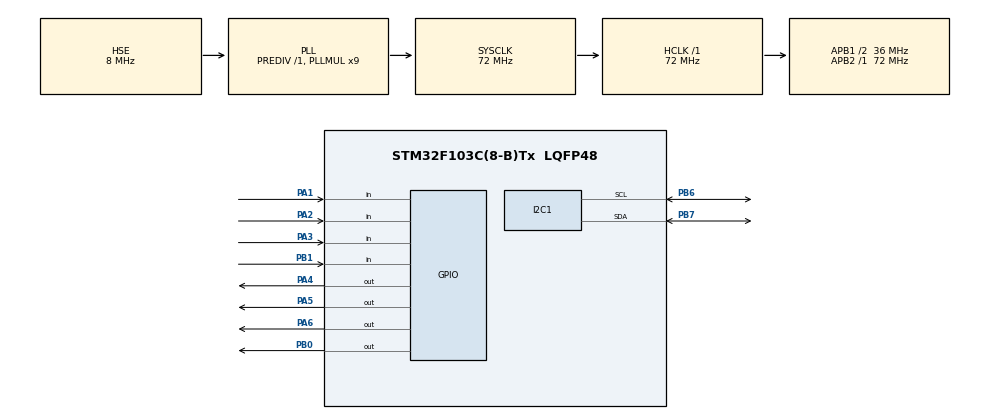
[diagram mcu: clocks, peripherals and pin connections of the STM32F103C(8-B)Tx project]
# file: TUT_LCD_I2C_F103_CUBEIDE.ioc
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Mcu.Family=STM32F1
Mcu.Name=STM32F103C(8-B)Tx
Mcu.Package=LQFP48
NVIC.PriorityGroup=NVIC_PRIORITYGROUP_4
PA1.GPIO_PuPd=GPIO_PULLUP
PA1.Signal=GPIO_Input
PA13.Mode=Serial_Wire
PA13.Signal=SYS_JTMS-SWDIO
PA14.Mode=Serial_Wire
PA14.Signal=SYS_JTCK-SWCLK
PA2.GPIO_PuPd=GPIO_PULLUP
PA2.Signal=GPIO_Input
PA3.GPIO_PuPd=GPIO_PULLUP
PA3.Signal=GPIO_Input
PA4.Signal=GPIO_Output
PA5.Signal=GPIO_Output
PA6.Signal=GPIO_Output
PB0.Signal=GPIO_Output
PB1.GPIO_PuPd=GPIO_PULLUP
PB1.Signal=GPIO_Input
PB6.GPIO_Pu=GPIO_PULLUP
PB6.Mode=I2C
PB6.Signal=I2C1_SCL
PB7.GPIO_Pu=GPIO_PULLUP
PB7.Mode=I2C
PB7.Signal=I2C1_SDA
PD0-OSC_IN.Mode=HSE-External-Oscillator
PD0-OSC_IN.Signal=RCC_OSC_IN
PD1-OSC_OUT.Mode=HSE-External-Oscillator
PD1-OSC_OUT.Signal=RCC_OSC_OUT
ProjectManager.HeapSize=0x200
ProjectManager.StackSize=0x400
ProjectManager.TargetToolchain=MDK-ARM V5.32
RCC.AHBFreq_Value=72000000
RCC.APB1CLKDivider=RCC_HCLK_DIV2
RCC.APB1Freq_Value=36000000
RCC.APB1TimFreq_Value=72000000
RCC.APB2Freq_Value=72000000
RCC.APB2TimFreq_Value=72000000
RCC.HCLKFreq_Value=72000000
RCC.PLLMUL=RCC_PLL_MUL9
RCC.PLLSourceVirtual=RCC_PLLSOURCE_HSE
RCC.SYSCLKFreq_VALUE=72000000
RCC.SYSCLKSource=RCC_SYSCLKSOURCE_PLLCLK
RCC.USBFreq_Value=72000000
board=custom

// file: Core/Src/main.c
/* USER CODE BEGIN Header */
/**
  ******************************************************************************
  * @file           : main.c
  * @brief          : Main program body
  ******************************************************************************
  * @attention
  *
  * <h2><center>&copy; Copyright (c) 2019 STMicroelectronics.
  * All rights reserved.</center></h2>
  *
  * This software component is licensed by ST under BSD 3-Clause license,
  * the "License"; You may not use this file except in compliance with the
  * License. You may obtain a copy of the License at:
  *                        opensource.org/licenses/BSD-3-Clause
  *
  ******************************************************************************
  */
/* USER CODE END Header */
#include "main.h"

/* USER CODE BEGIN Includes */

#include "i2c-lcd.h"

#define R1_PORT GPIOB
#define R1_PIN GPIO_PIN_0

#define R2_PORT GPIOA
#define R2_PIN GPIO_PIN_6

#define R3_PORT GPIOA
#define R3_PIN GPIO_PIN_5

#define R4_PORT GPIOA
#define R4_PIN GPIO_PIN_4

#define C1_PORT GPIOA
#define C1_PIN GPIO_PIN_3

#define C2_PORT GPIOA
#define C2_PIN GPIO_PIN_2

#define C3_PORT GPIOA
#define C3_PIN GPIO_PIN_1

#define C4_PORT GPIOB
#define C4_PIN GPIO_PIN_1

uint8_t key;

char keypressed;
char password[4] = {'2','0','2','2'};
char password_2[20];

char read_keypad (void);

char code_buff1[sizeof(password)];
char code_buff2[sizeof(password)];

int index_ = 0;

short a = 0, i = 0, s = 0, j = 0;
void GetNewCode1();
void ChangeCode();
void GetNewCode2();
void GetCode();
void ChangeCode()
{
  lcd_clear();
  lcd_put_cur(0,0);
	lcd_send_string("Doi pass");
  HAL_Delay(500);
	lcd_clear();
	lcd_put_cur(0,0);
	lcd_send_string("Pass cu");
  GetCode();

  if (a == sizeof(password))
  {
    index_ = 0;
    lcd_clear();
    lcd_clear();
		lcd_put_cur(0,0);
		lcd_send_string("thay doi");
    GetNewCode1();
    GetNewCode2();
    s = 0;
    for (i = 0; i < sizeof(password); i++)
    {
      if (code_buff1[i] == code_buff2[i] && (code_buff1[i] != '\0') && (code_buff2[i] != '\0'))
        s++;
    }
    if (s == sizeof(password))
    {

      for (i = 0; i < sizeof(password); i++)
      {
        password[i] = code_buff2[i];
      }
      lcd_clear();
      lcd_put_cur(0,0);
			lcd_send_string("succesfull");
      HAL_Delay(500);
    }
    else
    {
      lcd_clear();
      lcd_put_cur(0,0);
			lcd_send_string("that bai");
      HAL_Delay(1000);
    }
  }

  else
  {
    lcd_clear();
		lcd_put_cur(0,0);
		lcd_send_string("sai pass");
    HAL_Delay(2000);
  }
}

void GetNewCode1()
{
  i = 0;
  j = 0;
  lcd_clear();
	lcd_put_cur(0,0);
  lcd_send_string("new pass");
  //lcd_clear();
//	lcd_put_cur(1,0);
//  lcd_send_string("xac nhan");
//  HAL_Delay(1000);
//  lcd_clear();
//	lcd_put_cur(0,0);
//  lcd_send_string("xac nhan: A");

  while (keypressed != 'A')
  {
    keypressed = read_keypad();
    if (keypressed != 0x01 && keypressed != 'A')
    {
      lcd_put_cur(1,j);
      lcd_send_string("*");
      code_buff1[i] = keypressed;
      i++;
      j++;
    }
  }
  keypressed = 0x01;
}

void GetNewCode2()
{
  i = 0;
  j = 0;

  lcd_clear();
	lcd_put_cur(0,0);
  lcd_send_string("xac nhan lai");
  lcd_clear();
//	lcd_put_cur(1,0);
//  lcd_send_string("xac nhan");
//  HAL_Delay(1000);
//  lcd_clear();
	lcd_put_cur(0,0);
  lcd_send_string("xac nhan");

  while (keypressed != 'A')
  {
    keypressed = read_keypad();
    if (keypressed != 0x01 && keypressed != 'A')
    {
      lcd_put_cur(1,j);
      lcd_send_string("*");
      code_buff2[i] = keypressed;
      i++;
      j++;
    }
  }
  keypressed = 0x01;
}

char read_keypad (void)
{
	/* Make ROW 1 LOW and all other ROWs HIGH */
	HAL_GPIO_WritePin (R1_PORT, R1_PIN, GPIO_PIN_RESET);  //Pull the R1 low
	HAL_GPIO_WritePin (R2_PORT, R2_PIN, GPIO_PIN_SET);  // Pull the R2 High
	HAL_GPIO_WritePin (R3_PORT, R3_PIN, GPIO_PIN_SET);  // Pull the R3 High
	HAL_GPIO_WritePin (R4_PORT, R4_PIN, GPIO_PIN_SET);  // Pull the R4 High

	if (!(HAL_GPIO_ReadPin (C1_PORT, C1_PIN)))   // if the Col 1 is low
	{
		while (!(HAL_GPIO_ReadPin (C1_PORT, C1_PIN)));   // wait till the button is pressed
		return '1';
	}

	if (!(HAL_GPIO_ReadPin (C2_PORT, C2_PIN)))   // if the Col 2 is low
	{
		while (!(HAL_GPIO_ReadPin (C2_PORT, C2_PIN)));   // wait till the button is pressed
		return '2';
	}

	if (!(HAL_GPIO_ReadPin (C3_PORT, C3_PIN)))   // if the Col 3 is low
	{
		while (!(HAL_GPIO_ReadPin (C3_PORT, C3_PIN)));   // wait till the button is pressed
		return '3';
	}

	if (!(HAL_GPIO_ReadPin (C4_PORT, C4_PIN)))   // if the Col 4 is low
	{
		while (!(HAL_GPIO_ReadPin (C4_PORT, C4_PIN)));   // wait till the button is pressed
		return 'A';
	}

	/* Make ROW 2 LOW and all other ROWs HIGH */
	HAL_GPIO_WritePin (R1_PORT, R1_PIN, GPIO_PIN_SET);  //Pull the R1 low
	HAL_GPIO_WritePin (R2_PORT, R2_PIN, GPIO_PIN_RESET);  // Pull the R2 High
	HAL_GPIO_WritePin (R3_PORT, R3_PIN, GPIO_PIN_SET);  // Pull the R3 High
	HAL_GPIO_WritePin (R4_PORT, R4_PIN, GPIO_PIN_SET);  // Pull the R4 High

	if (!(HAL_GPIO_ReadPin (C1_PORT, C1_PIN)))   // if the Col 1 is low
	{
		while (!(HAL_GPIO_ReadPin (C1_PORT, C1_PIN)));   // wait till the button is pressed
		return '4';
	}

	if (!(HAL_GPIO_ReadPin (C2_PORT, C2_PIN)))   // if the Col 2 is low
	{
		while (!(HAL_GPIO_ReadPin (C2_PORT, C2_PIN)));   // wait till the button is pressed
		return '5';
	}

	if (!(HAL_GPIO_ReadPin (C3_PORT, C3_PIN)))   // if the Col 3 is low
	{
		while (!(HAL_GPIO_ReadPin (C3_PORT, C3_PIN)));   // wait till the button is pressed
		return '6';
	}

	if (!(HAL_GPIO_ReadPin (C4_PORT, C4_PIN)))   // if the Col 4 is low
	{
		while (!(HAL_GPIO_ReadPin (C4_PORT, C4_PIN)));   // wait till the button is pressed
		return 'B';
	}

	/* Make ROW 3 LOW and all other ROWs HIGH */
	HAL_GPIO_WritePin (R1_PORT, R1_PIN, GPIO_PIN_SET);  //Pull the R1 low
	HAL_GPIO_WritePin (R2_PORT, R2_PIN, GPIO_PIN_SET);  // Pull the R2 High
	HAL_GPIO_WritePin (R3_PORT, R3_PIN, GPIO_PIN_RESET);  // Pull the R3 High
	HAL_GPIO_WritePin (R4_PORT, R4_PIN, GPIO_PIN_SET);  // Pull the R4 High

	if (!(HAL_GPIO_ReadPin (C1_PORT, C1_PIN)))   // if the Col 1 is low
	{
		while (!(HAL_GPIO_ReadPin (C1_PORT, C1_PIN)));   // wait till the button is pressed
		return '7';
	}

	if (!(HAL_GPIO_ReadPin (C2_PORT, C2_PIN)))   // if the Col 2 is low
	{
		while (!(HAL_GPIO_ReadPin (C2_PORT, C2_PIN)));   // wait till the button is pressed
		return '8';
	}

	if (!(HAL_GPIO_ReadPin (C3_PORT, C3_PIN)))   // if the Col 3 is low
	{
		while (!(HAL_GPIO_ReadPin (C3_PORT, C3_PIN)));   // wait till the button is pressed
		return '9';
	}

	if (!(HAL_GPIO_ReadPin (C4_PORT, C4_PIN)))   // if the Col 4 is low
	{
		while (!(HAL_GPIO_ReadPin (C4_PORT, C4_PIN)));   // wait till the button is pressed
		return 'C';
	}

	/* Make ROW 4 LOW and all other ROWs HIGH */
	HAL_GPIO_WritePin (R1_PORT, R1_PIN, GPIO_PIN_SET);  //Pull the R1 low
	HAL_GPIO_WritePin (R2_PORT, R2_PIN, GPIO_PIN_SET);  // Pull the R2 High
	HAL_GPIO_WritePin (R3_PORT, R3_PIN, GPIO_PIN_SET);  // Pull the R3 High
	HAL_GPIO_WritePin (R4_PORT, R4_PIN, GPIO_PIN_RESET);  // Pull the R4 High

	if (!(HAL_GPIO_ReadPin (C1_PORT, C1_PIN)))   // if the Col 1 is low
	{
		while (!(HAL_GPIO_ReadPin (C1_PORT, C1_PIN)));   // wait till the button is pressed
		return '*';
	}

	if (!(HAL_GPIO_ReadPin (C2_PORT, C2_PIN)))   // if the Col 2 is low
	{
		while (!(HAL_GPIO_ReadPin (C2_PORT, C2_PIN)));   // wait till the button is pressed
		return '0';
	}

	if (!(HAL_GPIO_ReadPin (C3_PORT, C3_PIN)))   // if the Col 3 is low
	{
		while (!(HAL_GPIO_ReadPin (C3_PORT, C3_PIN)));   // wait till the button is pressed
		return '#';
	}

	if (!(HAL_GPIO_ReadPin (C4_PORT, C4_PIN)))   // if the Col 4 is low
	{
		while (!(HAL_GPIO_ReadPin (C4_PORT, C4_PIN)));   // wait till the button is pressed
		return 'D';
	}

}

void enter_password(){
	int h = 0;
			char val = read_keypad();
				while(val!='D'){
					val = read_keypad();
					if(val !=0x01&&val!='D'){
							lcd_put_cur(1,h);
						lcd_send_string("*");
				password_2[h] = val;
							++h;
					}
		}

}

void GetCode()
{
  i = 0;
  a = 0;
  j = 0;

  while (keypressed != 'A')
  {
    keypressed = read_keypad();
    if (keypressed != 0x01 && keypressed != 'A')
    {
      lcd_put_cur(1,j);
      lcd_send_string("*");
      j++;
      if (keypressed == password[i] && i < sizeof(password))
      {
        a++;
        i++;
      }
      else
        a--;
    }
  }
  keypressed = 0x01;
}

/* USER CODE END Includes */

I2C_HandleTypeDef hi2c1;

void SystemClock_Config(void);
static void MX_GPIO_Init(void);
static void MX_I2C1_Init(void);

/* USER CODE BEGIN 0 */

int row=0;
int col=0;

/* USER CODE END 0 */

int main(void)
{

  /* MCU Configuration--------------------------------------------------------*/

  /* Reset of all peripherals, Initializes the Flash interface and the Systick. */
  HAL_Init();

  /* Configure the system clock */
  SystemClock_Config();

  /* Initialize all configured peripherals */
  MX_GPIO_Init();
  MX_I2C1_Init();
  /* USER CODE BEGIN 2 */

  lcd_init ();
	enum bool_{FALSE,TRUE};

  //HAL_Delay(1000);

  lcd_put_cur(0,0);

	lcd_send_string (" HOC VIEN KTMM: ");

  /* USER CODE END 2 */

  /* Infinite loop */
  /* USER CODE BEGIN WHILE */
	lcd_put_cur(1,1);
	int index_ = 0;
  while (1)
  {
		char keypressed = read_keypad();
		if(keypressed == '*'){
			lcd_clear();
			lcd_put_cur(0,0);
			lcd_send_string("Enter password:");
			GetCode();
			if(a==sizeof(password)){lcd_clear();lcd_put_cur(0,0);lcd_send_string("    Open door");}else{lcd_clear();lcd_put_cur(0,0);lcd_send_string("Nhap lai");}
		}

		if(keypressed == '#'){
			ChangeCode();
		}
//
//		switch(selection)
//		{
//			case '*': lcd_clear();lcd_put_cur(0,0);lcd_send_string("Enter Password:");enter_password();if(check_pass()==1){lcd_clear();lcd_put_cur(0,0);lcd_send_string("open");};
//				break;
//			case '#': lcd_clear();lcd_put_cur(0,0);lcd_send_string("Change Password:");break;
//
//		}

		//lcd_clear();
    /* USER CODE END WHILE */

  }
}

void SystemClock_Config(void)
{
  RCC_OscInitTypeDef RCC_OscInitStruct = {0};
  RCC_ClkInitTypeDef RCC_ClkInitStruct = {0};

  /** Initializes the RCC Oscillators according to the specified parameters
  * in the RCC_OscInitTypeDef structure.
  */
  RCC_OscInitStruct.OscillatorType = RCC_OSCILLATORTYPE_HSE;
  RCC_OscInitStruct.HSEState = RCC_HSE_ON;
  RCC_OscInitStruct.HSEPredivValue = RCC_HSE_PREDIV_DIV1;
  RCC_OscInitStruct.HSIState = RCC_HSI_ON;
  RCC_OscInitStruct.PLL.PLLState = RCC_PLL_ON;
  RCC_OscInitStruct.PLL.PLLSource = RCC_PLLSOURCE_HSE;
  RCC_OscInitStruct.PLL.PLLMUL = RCC_PLL_MUL9;
  if (HAL_RCC_OscConfig(&RCC_OscInitStruct) != HAL_OK)
  {
    Error_Handler();
  }
  /** Initializes the CPU, AHB and APB buses clocks
  */
  RCC_ClkInitStruct.ClockType = RCC_CLOCKTYPE_HCLK|RCC_CLOCKTYPE_SYSCLK
                              |RCC_CLOCKTYPE_PCLK1|RCC_CLOCKTYPE_PCLK2;
  RCC_ClkInitStruct.SYSCLKSource = RCC_SYSCLKSOURCE_PLLCLK;
  RCC_ClkInitStruct.AHBCLKDivider = RCC_SYSCLK_DIV1;
  RCC_ClkInitStruct.APB1CLKDivider = RCC_HCLK_DIV2;
  RCC_ClkInitStruct.APB2CLKDivider = RCC_HCLK_DIV1;

  if (HAL_RCC_ClockConfig(&RCC_ClkInitStruct, FLASH_LATENCY_2) != HAL_OK)
  {
    Error_Handler();
  }
}

static void MX_I2C1_Init(void)
{

  hi2c1.Instance = I2C1;
  hi2c1.Init.ClockSpeed = 100000;
  hi2c1.Init.DutyCycle = I2C_DUTYCYCLE_2;
  hi2c1.Init.OwnAddress1 = 0;
  hi2c1.Init.AddressingMode = I2C_ADDRESSINGMODE_7BIT;
  hi2c1.Init.DualAddressMode = I2C_DUALADDRESS_DISABLE;
  hi2c1.Init.OwnAddress2 = 0;
  hi2c1.Init.GeneralCallMode = I2C_GENERALCALL_DISABLE;
  hi2c1.Init.NoStretchMode = I2C_NOSTRETCH_DISABLE;
  if (HAL_I2C_Init(&hi2c1) != HAL_OK)
  {
    Error_Handler();
  }

}

static void MX_GPIO_Init(void)
{
  GPIO_InitTypeDef GPIO_InitStruct = {0};

  /* GPIO Ports Clock Enable */
  __HAL_RCC_GPIOD_CLK_ENABLE();
  __HAL_RCC_GPIOA_CLK_ENABLE();
  __HAL_RCC_GPIOB_CLK_ENABLE();

  /*Configure GPIO pin Output Level */
  HAL_GPIO_WritePin(GPIOA, GPIO_PIN_4|GPIO_PIN_5|GPIO_PIN_6, GPIO_PIN_RESET);

  /*Configure GPIO pin Output Level */
  HAL_GPIO_WritePin(GPIOB, GPIO_PIN_0, GPIO_PIN_RESET);

  /*Configure GPIO pins : PA1 PA2 PA3 */
  GPIO_InitStruct.Pin = GPIO_PIN_1|GPIO_PIN_2|GPIO_PIN_3;
  GPIO_InitStruct.Mode = GPIO_MODE_INPUT;
  GPIO_InitStruct.Pull = GPIO_PULLUP;
  HAL_GPIO_Init(GPIOA, &GPIO_InitStruct);

  /*Configure GPIO pins : PA4 PA5 PA6 */
  GPIO_InitStruct.Pin = GPIO_PIN_4|GPIO_PIN_5|GPIO_PIN_6;
  GPIO_InitStruct.Mode = GPIO_MODE_OUTPUT_PP;
  GPIO_InitStruct.Pull = GPIO_NOPULL;
  GPIO_InitStruct.Speed = GPIO_SPEED_FREQ_LOW;
  HAL_GPIO_Init(GPIOA, &GPIO_InitStruct);

  /*Configure GPIO pin : PB0 */
  GPIO_InitStruct.Pin = GPIO_PIN_0;
  GPIO_InitStruct.Mode = GPIO_MODE_OUTPUT_PP;
  GPIO_InitStruct.Pull = GPIO_NOPULL;
  GPIO_InitStruct.Speed = GPIO_SPEED_FREQ_LOW;
  HAL_GPIO_Init(GPIOB, &GPIO_InitStruct);

  /*Configure GPIO pin : PB1 */
  GPIO_InitStruct.Pin = GPIO_PIN_1;
  GPIO_InitStruct.Mode = GPIO_MODE_INPUT;
  GPIO_InitStruct.Pull = GPIO_PULLUP;
  HAL_GPIO_Init(GPIOB, &GPIO_InitStruct);

}

void Error_Handler(void)
{
}

/************************ (C) COPYRIGHT STMicroelectronics *****END OF FILE****/
